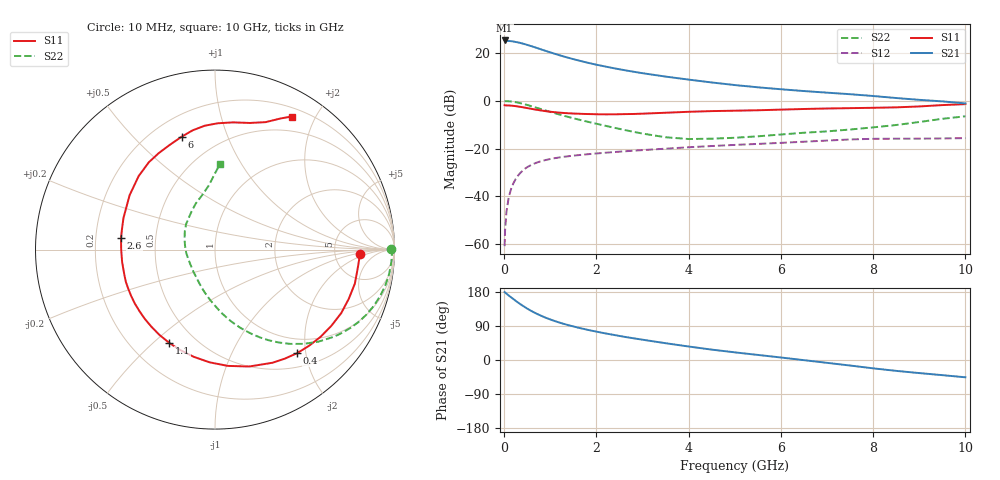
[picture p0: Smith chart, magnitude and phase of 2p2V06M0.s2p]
! (c) 2009  Infineon Technologies AG, Munich
! Infineon Technologies  Discrete & RF Semiconductors
! BFP420
! VCE =  2.0 V,  IC =  6.0 mA
! Common Emitter S-Parameters:  Nov 2009
# GHz  S  MA  R  50
!  f  S11  S21  S12  S22
! GHz  MAG  ANG  MAG  ANG  MAG  ANG  MAG  ANG
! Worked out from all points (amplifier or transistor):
!   46 points, 10 MHz to 10 GHz, reference 50 ohm
!   highest |S21| = 25.3 dB at 10 MHz (marker M1)
!   |S21| within 3 dB of that: start of sweep to 686.6 MHz
!   unconditionally stable (mu >= 1): 2.8 GHz to end of sweep
!   at 300 MHz: K = 0.12, MSG = 27.9 dB, |S12| = -31.3 dB
!   at 1.7 GHz: K = 0.66, MSG = 19.5 dB, |S12| = -22.6 dB
!   at 10 GHz: K = 1.11, MAG = 5.2 dB, |S12| = -15.6 dB
!   lowest NFmin = 0.70 dB at 900 MHz
!   S11 on the Smith chart (normalised r, x): 10 MHz: 9.36, -1.23; 400 MHz: 0.73, -1.84; 1.1 GHz: 0.36, -0.56; 2.6 GHz: 0.31, +0.06; 6 GHz: 0.32, +0.70; 10 GHz: 0.31, +1.69
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0.01  0.81 -1.6  18.48 179.2  0.0009 80.3  0.9819 0.3
0.02  0.8064 -2.9  18.04 178.2  0.0019 87.7  0.9858 -1.6
0.05  0.8027 -6.4  18.05 175.0  0.0047 86.3  0.9852 -3.9
0.1  0.802 -13.6  18.05 170.2  0.0096 83.2  0.9797 -8.0
0.2  0.7873 -26.7  17.57 160.8  0.0187 76.7  0.9551 -15.9
0.3  0.763 -39.6  16.83 151.7  0.0271 70.4  0.9179 -23.3
0.4  0.7363 -51.6  15.92 143.4  0.0344 64.7  0.8713 -30.1
0.5  0.707 -63.1  14.93 135.7  0.0408 59.8  0.8208 -36.3
0.7  0.6519 -83.7  12.96 122.4  0.0506 51.6  0.7193 -46.9
0.9  0.609 -101.2  11.17 111.6  0.0576 45.6  0.6283 -55.5
1.1  0.5787 -116.3  9.695 102.7  0.063 41.3  0.5515 -62.7
1.4  0.5494 -135.4  7.963 91.7  0.0692 36.6  0.4585 -72.0
1.7  0.5338 -151.1  6.702 82.7  0.0744 33.4  0.3874 -79.9
2.2  0.5221 -172.4  5.229 70.1  0.0819 29.5  0.3 -92.2
2.6  0.5277 173.0  4.419 61.3  0.0875 26.9  0.2468 -103.2
3.5  0.5641 147.5  3.231 44.3  0.0996 21.9  0.1727 -133.8
4.5  0.6106 127.1  2.433 27.4  0.1131 15.9  0.1612 -172.8
5.5  0.636 113.2  1.926 13.4  0.1253 10.3  0.1808 159.8
6  0.6557 106.5  1.752 6.6  0.1318 7.4  0.1973 148.4
7  0.6925 94.8  1.487 -7.5  0.1473 0.5  0.2294 129.5
8.5  0.7318 74.6  1.148 -28.7  0.1611 -13.9  0.312 103.2
10  0.8553 60.1  0.885 -45.6  0.1656 -23.3  0.4753 86.8
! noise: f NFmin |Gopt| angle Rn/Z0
0.9  0.7  0.16  29  0.14
1.8  1.08  0.06  113  0.12
2.4  1.17  0.11  132  0.13
3  1.26  0.17  176  0.11
4  1.43  0.31  -139  0.13
5  1.82  0.38  -115  0.24
6  2.3  0.43  -99  0.37
